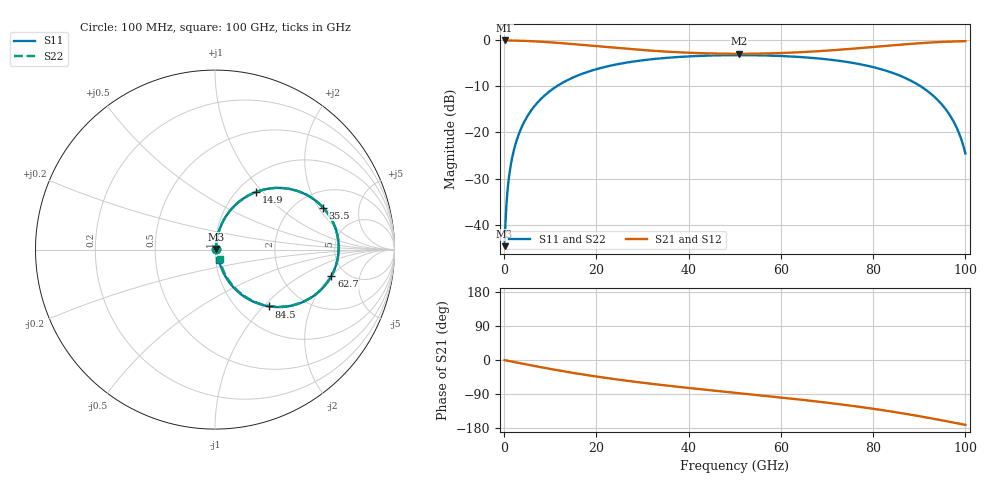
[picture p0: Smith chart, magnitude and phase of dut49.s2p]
! Touchstone file exported from HFSS 2026.1.0
!  File:  C:/ffzhzh/LocalFiles/Ansys_Project_Files/temp_train_RDL_49_1783498277_31944.aedt
!  Generated:  04:12:41 PM Jul  8, 2026
!  Design:  RDL
!  Project:  temp_train_RDL_49_1783498277_31944
! Variables:
!  h_bsmrdl = 2um
!  h_ox = 20um
!  h_rdl = 5um
!  h_sub = 80um
!  h_tmrdl = 2.51um
!  h_tsv = 80um
!  h_via = 3um
!  l_bsmrdl = 300um
!  l_sub = 958.93um
!  l_tmrdl = 558.93um
!  m_sub = 200um
!  pitch = 56.2um
!  r_tsv = 6um
!  s_tmrdl = 10um
!  w_bsmrdl = 18um
!  w_sub = 500um
!  w_tmrdl = 16.69um
!  x_tsv_center1 = 567.275um
!  x_tsv_center2 = 885.275um
!  x_tsv_center3 = 1460.895um
!  x_tsv_center4 = 1778.895um
!  x_tsv_center5 = 2354.515um
!  x_tsv_center6 = 2672.515um
# GHz S MA R 50.000000
! Terminal data exported
! Port[1] = TM_RDL1_1_T1
! Port[2] = TM_RDL1_1_T2
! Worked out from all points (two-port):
!   1000 points, 100 MHz to 100 GHz, reference 50 ohm
!   highest |S21| = -0.04 dB at 100 MHz (marker M1); lowest = -2.9 dB at 50.9 GHz (marker M2)
!   |S21| within 3 dB of the highest: start of sweep to end of sweep
!   lowest |S11| = -44.7 dB at 100 MHz (marker M3), VSWR 1.01, Z = 50.5 + j0.322 ohm
!   |S11| at or under -10 dB: start of sweep to 11.37 GHz; 90.32 GHz to end of sweep
!   |S22| runs from -44.7 to -3.2 dB; largest |S21 - S12| = 1.7e-14
!   S11 on the Smith chart (normalised r, x): 100 MHz: 1.01, +0.01; 14.9 GHz: 1.21, +0.92; 35.5 GHz: 2.73, +2.20; 62.7 GHz: 3.84, -2.03; 84.5 GHz: 1.38, -1.08; 100 GHz: 1.04, -0.12
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0.1  0.005851 33.0  0.9951 -0.3  0.9951 -0.3  0.005851 33.0
! Gamma 0 0 0 0
! Port Impedance 50 0 50 0
0.9  0.02843 76.2  0.9939 -2.2  0.9939 -2.2  0.02843 76.2
1.4  0.04324 78.6  0.9931 -3.4  0.9931 -3.4  0.04324 78.6
2.4  0.07293 79.2  0.9911 -5.9  0.9911 -5.9  0.07293 79.2
3.8  0.1142 77.4  0.9868 -9.2  0.9868 -9.2  0.1142 77.4
5.7  0.1687 73.8  0.9784 -13.7  0.9784 -13.7  0.1687 73.8
8.2  0.237 68.5  0.9633 -19.5  0.9633 -19.5  0.237 68.5
14.9  0.3939 54.6  0.9087 -33.9  0.9087 -33.9  0.3939 54.6
16.8  0.4308 50.9  0.8915 -37.6  0.8915 -37.6  0.4308 50.9
24.2  0.5451 37.9  0.8265 -50.9  0.8265 -50.9  0.5451 37.9
33.4  0.6329 24.1  0.7625 -64.9  0.7625 -64.9  0.6329 24.1
35.5  0.6464 21.2  0.7515 -67.8  0.7515 -67.8  0.6464 21.3
50.1  0.6893 2.8  0.7138 -86.5  0.7138 -86.5  0.6893 2.9
50.9  0.6895 1.9  0.7137 -87.5  0.7137 -87.5  0.6894 1.9
62.7  0.6649 -12.8  0.736 -102.5  0.736 -102.5  0.6649 -12.7
66.7  0.6441 -18.1  0.7536 -107.9  0.7536 -107.9  0.6441 -18.0
83.4  0.4573 -44.3  0.874 -134.9  0.874 -134.9  0.4573 -44.0
84.5  0.4377 -46.3  0.8834 -137.0  0.8834 -137.0  0.4377 -45.9
90.2  0.3191 -57.2  0.9298 -148.7  0.9298 -148.7  0.3191 -56.6
94.5  0.2118 -65.6  0.9576 -158.3  0.9576 -158.3  0.2119 -64.5
97.6  0.127 -70.4  0.971 -165.5  0.971 -165.5  0.1273 -68.4
100  0.05912 -69.4  0.9766 -171.2  0.9766 -171.2  0.06012 -65.0
